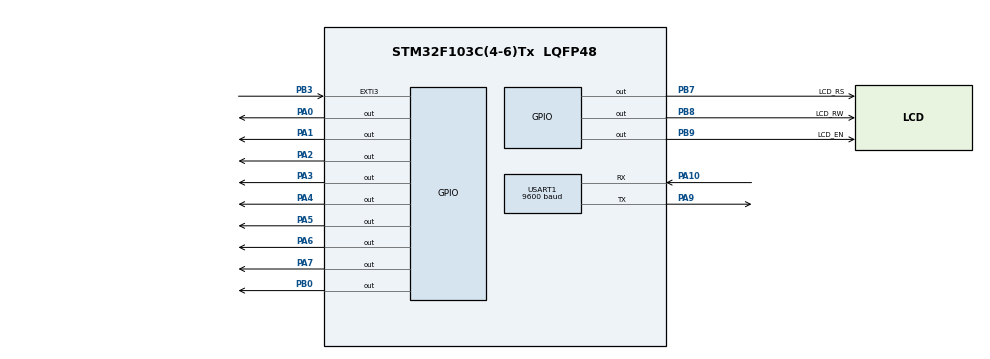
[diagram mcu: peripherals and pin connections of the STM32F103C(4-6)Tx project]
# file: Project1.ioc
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Mcu.Family=STM32F1
Mcu.Name=STM32F103C(4-6)Tx
Mcu.Package=LQFP48
NVIC.EXTI3_IRQn=true\:0\:0\:false\:false\:true\:true\:true
NVIC.PriorityGroup=NVIC_PRIORITYGROUP_4
NVIC.TIM2_IRQn=true\:0\:0\:false\:false\:true\:true\:true
PA0-WKUP.Signal=GPIO_Output
PA1.Signal=GPIO_Output
PA10.Mode=Asynchronous
PA10.Signal=USART1_RX
PA2.Signal=GPIO_Output
PA3.Signal=GPIO_Output
PA4.Signal=GPIO_Output
PA5.Signal=GPIO_Output
PA6.Signal=GPIO_Output
PA7.Signal=GPIO_Output
PA9.Mode=Asynchronous
PA9.Signal=USART1_TX
PB0.Signal=GPIO_Output
PB3.GPIO_ModeDefaultEXTI=GPIO_MODE_IT_FALLING
PB3.GPIO_PuPd=GPIO_PULLUP
PB3.Signal=GPXTI3
PB7.GPIO_Label=LCD_RS
PB7.Signal=GPIO_Output
PB8.GPIO_Label=LCD_RW
PB8.PinState=GPIO_PIN_SET
PB8.Signal=GPIO_Output
PB9.GPIO_Label=LCD_EN
PB9.Signal=GPIO_Output
PD0-OSC_IN.Mode=HSE-External-Oscillator
PD0-OSC_IN.Signal=RCC_OSC_IN
PD1-OSC_OUT.Mode=HSE-External-Oscillator
PD1-OSC_OUT.Signal=RCC_OSC_OUT
ProjectManager.HeapSize=0x200
ProjectManager.StackSize=0x400
ProjectManager.TargetToolchain=STM32CubeIDE
RCC.APB1Freq_Value=8000000
RCC.APB2Freq_Value=8000000
RCC.SYSCLKSource=RCC_SYSCLKSOURCE_HSE
TIM2.AutoReloadPreload=TIM_AUTORELOAD_PRELOAD_ENABLE
TIM2.Period=500
TIM2.Prescaler=800
USART1.BaudRate=9600
USART1.VirtualMode=VM_ASYNC
VP_SYS_VS_ND.Mode=No_Debug
VP_TIM2_VS_ClockSourceINT.Mode=Internal
board=custom

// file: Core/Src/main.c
/* USER CODE BEGIN Header */
/**
  ******************************************************************************
  * @file           : main.c
  * @brief          : Main program body
  ******************************************************************************
  * @attention
  *
  * <h2><center>&copy; Copyright (c) 2021 STMicroelectronics.
  * All rights reserved.</center></h2>
  *
  * This software component is licensed by ST under BSD 3-Clause license,
  * the "License"; You may not use this file except in compliance with the
  * License. You may obtain a copy of the License at:
  *                        opensource.org/licenses/BSD-3-Clause
  *
  ******************************************************************************
  */
/* USER CODE END Header */
#include "main.h"

/* USER CODE BEGIN Includes */
#include <string.h>
/* USER CODE END Includes */

/* USER CODE BEGIN PTD */
typedef struct
{
	GPIO_TypeDef * LCD_GPIO;		//LCD port
	uint16_t D0_PIN;				//Data pins - 8 bit mode
	uint16_t D1_PIN;
	uint16_t D2_PIN;
	uint16_t D3_PIN;
	uint16_t D4_PIN;
	uint16_t D5_PIN;
	uint16_t D6_PIN;
	uint16_t D7_PIN;
}LCD_Databus_Config;
typedef struct
{
	GPIO_TypeDef * LCD_GPIO;		//LCD port
	uint16_t EN_PIN;				//EN
	uint16_t RW_PIN;				//RW (usually 0)
	uint16_t RS_PIN;				//RS
}LCD_Controlbus_Config;
/* USER CODE END PTD */

TIM_HandleTypeDef htim2;

UART_HandleTypeDef huart1;

/* USER CODE BEGIN PV */
const LCD_Databus_Config LCDDataBus =
{
    GPIOA,
    GPIO_PIN_0,
    GPIO_PIN_1,
    GPIO_PIN_2,
    GPIO_PIN_3,
    GPIO_PIN_4,
    GPIO_PIN_5,
    GPIO_PIN_6,
    GPIO_PIN_7
};
const LCD_Controlbus_Config LCDControlBus =
{
	GPIOB,
    GPIO_PIN_9,
    GPIO_PIN_8,
    GPIO_PIN_7,
};
/* USER CODE END PV */

void SystemClock_Config(void);
static void MX_GPIO_Init(void);
static void MX_USART1_UART_Init(void);
static void MX_TIM2_Init(void);
/* USER CODE BEGIN PFP */
void UartPrint(char *);
void LCD_Init();
void LCD_WriteChar(uint8_t);
void LCD_WriteString(char*);
void LCD_Command(uint8_t);
void LCD_Data(uint8_t);
/* USER CODE END PFP */

/* USER CODE BEGIN 0 */
void UartPrint(char *_out)
{
	HAL_UART_Transmit(&huart1, (uint8_t *)_out, strlen(_out), 20);
}

void LCD_Init()
{
	HAL_GPIO_WritePin(LCDControlBus.LCD_GPIO, LCDControlBus.RW_PIN, GPIO_PIN_RESET);
	LCD_Command(0x38); 	//Chon che do 8 bit, 2 hang cho LCD
	LCD_Command(0x0E); 	//Bat hien thi, nhap nhay con tro
	LCD_Command(0x01); 	//Xoa man hinh
	LCD_Command(0x80); 	//Ve dau dong
}

void LCD_Data(uint8_t data)
{
	if (data & 0x01)
		HAL_GPIO_WritePin(LCDDataBus.LCD_GPIO, LCDDataBus.D0_PIN, GPIO_PIN_SET);
	else
		HAL_GPIO_WritePin(LCDDataBus.LCD_GPIO, LCDDataBus.D0_PIN, GPIO_PIN_RESET);

	if (data & 0x02)
		HAL_GPIO_WritePin(LCDDataBus.LCD_GPIO, LCDDataBus.D1_PIN, GPIO_PIN_SET);
	else
		HAL_GPIO_WritePin(LCDDataBus.LCD_GPIO, LCDDataBus.D1_PIN, GPIO_PIN_RESET);

	if (data & 0x04)
		HAL_GPIO_WritePin(LCDDataBus.LCD_GPIO, LCDDataBus.D2_PIN, GPIO_PIN_SET);
	else
		HAL_GPIO_WritePin(LCDDataBus.LCD_GPIO, LCDDataBus.D2_PIN, GPIO_PIN_RESET);

	if (data & 0x08)
		HAL_GPIO_WritePin(LCDDataBus.LCD_GPIO, LCDDataBus.D3_PIN, GPIO_PIN_SET);
	else
		HAL_GPIO_WritePin(LCDDataBus.LCD_GPIO, LCDDataBus.D3_PIN, GPIO_PIN_RESET);

	if (data & 0x10)
		HAL_GPIO_WritePin(LCDDataBus.LCD_GPIO, LCDDataBus.D4_PIN, GPIO_PIN_SET);
	else
		HAL_GPIO_WritePin(LCDDataBus.LCD_GPIO, LCDDataBus.D4_PIN, GPIO_PIN_RESET);

	if (data & 0x20)
		HAL_GPIO_WritePin(LCDDataBus.LCD_GPIO, LCDDataBus.D5_PIN, GPIO_PIN_SET);
	else
		HAL_GPIO_WritePin(LCDDataBus.LCD_GPIO, LCDDataBus.D5_PIN, GPIO_PIN_RESET);

	if (data & 0x40)
		HAL_GPIO_WritePin(LCDDataBus.LCD_GPIO, LCDDataBus.D6_PIN, GPIO_PIN_SET);
	else
		HAL_GPIO_WritePin(LCDDataBus.LCD_GPIO, LCDDataBus.D6_PIN, GPIO_PIN_RESET);

	if (data & 0x80)
		HAL_GPIO_WritePin(LCDDataBus.LCD_GPIO, LCDDataBus.D7_PIN, GPIO_PIN_SET);
	else
		HAL_GPIO_WritePin(LCDDataBus.LCD_GPIO, LCDDataBus.D7_PIN, GPIO_PIN_RESET);
}

void LCD_Command(uint8_t cmd)
{
	LCD_Data(cmd);
	HAL_GPIO_WritePin(LCDControlBus.LCD_GPIO, LCDControlBus.RS_PIN, GPIO_PIN_RESET);
	HAL_GPIO_WritePin(LCDControlBus.LCD_GPIO, LCDControlBus.RW_PIN, GPIO_PIN_RESET);
	HAL_GPIO_WritePin(LCDControlBus.LCD_GPIO, LCDControlBus.EN_PIN, GPIO_PIN_SET);
	HAL_Delay(1);
	HAL_GPIO_WritePin(LCDControlBus.LCD_GPIO, LCDControlBus.EN_PIN, GPIO_PIN_RESET);
	HAL_Delay(1);
	HAL_GPIO_WritePin(LCDControlBus.LCD_GPIO, LCDControlBus.EN_PIN, GPIO_PIN_SET);
}

void LCD_WriteChar(uint8_t c)
{
	LCD_Data(c); 		//Dua du lieu vao thanh ghi
	HAL_GPIO_WritePin(LCDControlBus.LCD_GPIO, LCDControlBus.RS_PIN, GPIO_PIN_SET);
	HAL_GPIO_WritePin(LCDControlBus.LCD_GPIO, LCDControlBus.RW_PIN, GPIO_PIN_RESET);
	HAL_GPIO_WritePin(LCDControlBus.LCD_GPIO, LCDControlBus.EN_PIN, GPIO_PIN_SET);
	HAL_Delay(1);
	HAL_GPIO_WritePin(LCDControlBus.LCD_GPIO, LCDControlBus.EN_PIN, GPIO_PIN_RESET);
	HAL_Delay(1);
	HAL_GPIO_WritePin(LCDControlBus.LCD_GPIO, LCDControlBus.EN_PIN, GPIO_PIN_SET);
}

void LCD_WriteString(char *str)
{
    int i;
    for(i=0;str[i]!='\0';i++)
       LCD_WriteChar(str[i]);
}
/* USER CODE END 0 */

int main(void)
{

  /* MCU Configuration--------------------------------------------------------*/

  /* Reset of all peripherals, Initializes the Flash interface and the Systick. */
  HAL_Init();

  /* Configure the system clock */
  SystemClock_Config();

  /* Initialize all configured peripherals */
  MX_GPIO_Init();
  MX_USART1_UART_Init();
  MX_TIM2_Init();
  /* USER CODE BEGIN 2 */
  HAL_TIM_Base_Start_IT(&htim2);

	LCD_Init();
	LCD_WriteString("Hello STM32F4");
	LCD_Command(0xC0); //Chuyen con tro xuong dong thu 2
	LCD_WriteString("Let's fight Covid19");
  /* USER CODE END 2 */

  /* Infinite loop */
  while (1)
  {

    /* USER CODE BEGIN 3 */
	//  HAL_Delay(500);
	//  HAL_GPIO_WritePin(GPIOB, GPIO_PIN_0, GPIO_PIN_RESET);
	//  HAL_Delay(500);
	//  HAL_GPIO_WritePin(GPIOB, GPIO_PIN_0, GPIO_PIN_SET);
  }
  /* USER CODE END 3 */
}

void SystemClock_Config(void)
{
  RCC_OscInitTypeDef RCC_OscInitStruct = {0};
  RCC_ClkInitTypeDef RCC_ClkInitStruct = {0};

  /** Initializes the RCC Oscillators according to the specified parameters
  * in the RCC_OscInitTypeDef structure.
  */
  RCC_OscInitStruct.OscillatorType = RCC_OSCILLATORTYPE_HSE;
  RCC_OscInitStruct.HSEState = RCC_HSE_ON;
  RCC_OscInitStruct.PLL.PLLState = RCC_PLL_NONE;
  if (HAL_RCC_OscConfig(&RCC_OscInitStruct) != HAL_OK)
  {
    Error_Handler();
  }
  /** Initializes the CPU, AHB and APB buses clocks
  */
  RCC_ClkInitStruct.ClockType = RCC_CLOCKTYPE_HCLK|RCC_CLOCKTYPE_SYSCLK
                              |RCC_CLOCKTYPE_PCLK1|RCC_CLOCKTYPE_PCLK2;
  RCC_ClkInitStruct.SYSCLKSource = RCC_SYSCLKSOURCE_HSE;
  RCC_ClkInitStruct.AHBCLKDivider = RCC_SYSCLK_DIV1;
  RCC_ClkInitStruct.APB1CLKDivider = RCC_HCLK_DIV1;
  RCC_ClkInitStruct.APB2CLKDivider = RCC_HCLK_DIV1;

  if (HAL_RCC_ClockConfig(&RCC_ClkInitStruct, FLASH_LATENCY_0) != HAL_OK)
  {
    Error_Handler();
  }
}

static void MX_TIM2_Init(void)
{

  TIM_ClockConfigTypeDef sClockSourceConfig = {0};
  TIM_MasterConfigTypeDef sMasterConfig = {0};

  htim2.Instance = TIM2;
  htim2.Init.Prescaler = 800;
  htim2.Init.CounterMode = TIM_COUNTERMODE_UP;
  htim2.Init.Period = 500;
  htim2.Init.ClockDivision = TIM_CLOCKDIVISION_DIV1;
  htim2.Init.AutoReloadPreload = TIM_AUTORELOAD_PRELOAD_ENABLE;
  if (HAL_TIM_Base_Init(&htim2) != HAL_OK)
  {
    Error_Handler();
  }
  sClockSourceConfig.ClockSource = TIM_CLOCKSOURCE_INTERNAL;
  if (HAL_TIM_ConfigClockSource(&htim2, &sClockSourceConfig) != HAL_OK)
  {
    Error_Handler();
  }
  sMasterConfig.MasterOutputTrigger = TIM_TRGO_RESET;
  sMasterConfig.MasterSlaveMode = TIM_MASTERSLAVEMODE_DISABLE;
  if (HAL_TIMEx_MasterConfigSynchronization(&htim2, &sMasterConfig) != HAL_OK)
  {
    Error_Handler();
  }

}

static void MX_USART1_UART_Init(void)
{

  huart1.Instance = USART1;
  huart1.Init.BaudRate = 9600;
  huart1.Init.WordLength = UART_WORDLENGTH_8B;
  huart1.Init.StopBits = UART_STOPBITS_1;
  huart1.Init.Parity = UART_PARITY_NONE;
  huart1.Init.Mode = UART_MODE_TX_RX;
  huart1.Init.HwFlowCtl = UART_HWCONTROL_NONE;
  huart1.Init.OverSampling = UART_OVERSAMPLING_16;
  if (HAL_UART_Init(&huart1) != HAL_OK)
  {
    Error_Handler();
  }
  /* USER CODE BEGIN USART1_Init 2 */
  UartPrint("UART initialized");
  /* USER CODE END USART1_Init 2 */

}

static void MX_GPIO_Init(void)
{
  GPIO_InitTypeDef GPIO_InitStruct = {0};

  /* GPIO Ports Clock Enable */
  __HAL_RCC_GPIOD_CLK_ENABLE();
  __HAL_RCC_GPIOA_CLK_ENABLE();
  __HAL_RCC_GPIOB_CLK_ENABLE();

  /*Configure GPIO pin Output Level */
  HAL_GPIO_WritePin(GPIOA, GPIO_PIN_0|GPIO_PIN_1|GPIO_PIN_2|GPIO_PIN_3
                          |GPIO_PIN_4|GPIO_PIN_5|GPIO_PIN_6|GPIO_PIN_7, GPIO_PIN_RESET);

  /*Configure GPIO pin Output Level */
  HAL_GPIO_WritePin(GPIOB, GPIO_PIN_0|LCD_RS_Pin|LCD_EN_Pin, GPIO_PIN_RESET);

  /*Configure GPIO pin Output Level */
  HAL_GPIO_WritePin(LCD_RW_GPIO_Port, LCD_RW_Pin, GPIO_PIN_SET);

  /*Configure GPIO pins : PA0 PA1 PA2 PA3
                           PA4 PA5 PA6 PA7 */
  GPIO_InitStruct.Pin = GPIO_PIN_0|GPIO_PIN_1|GPIO_PIN_2|GPIO_PIN_3
                          |GPIO_PIN_4|GPIO_PIN_5|GPIO_PIN_6|GPIO_PIN_7;
  GPIO_InitStruct.Mode = GPIO_MODE_OUTPUT_PP;
  GPIO_InitStruct.Pull = GPIO_NOPULL;
  GPIO_InitStruct.Speed = GPIO_SPEED_FREQ_LOW;
  HAL_GPIO_Init(GPIOA, &GPIO_InitStruct);

  /*Configure GPIO pins : PB0 LCD_RS_Pin LCD_RW_Pin LCD_EN_Pin */
  GPIO_InitStruct.Pin = GPIO_PIN_0|LCD_RS_Pin|LCD_RW_Pin|LCD_EN_Pin;
  GPIO_InitStruct.Mode = GPIO_MODE_OUTPUT_PP;
  GPIO_InitStruct.Pull = GPIO_NOPULL;
  GPIO_InitStruct.Speed = GPIO_SPEED_FREQ_LOW;
  HAL_GPIO_Init(GPIOB, &GPIO_InitStruct);

  /*Configure GPIO pin : PB3 */
  GPIO_InitStruct.Pin = GPIO_PIN_3;
  GPIO_InitStruct.Mode = GPIO_MODE_IT_FALLING;
  GPIO_InitStruct.Pull = GPIO_PULLUP;
  HAL_GPIO_Init(GPIOB, &GPIO_InitStruct);

  /* EXTI interrupt init*/
  HAL_NVIC_SetPriority(EXTI3_IRQn, 0, 0);
  HAL_NVIC_EnableIRQ(EXTI3_IRQn);

}

void Error_Handler(void)
{
  __disable_irq();
  while (1)
  {
  }
}

/************************ (C) COPYRIGHT STMicroelectronics *****END OF FILE****/
